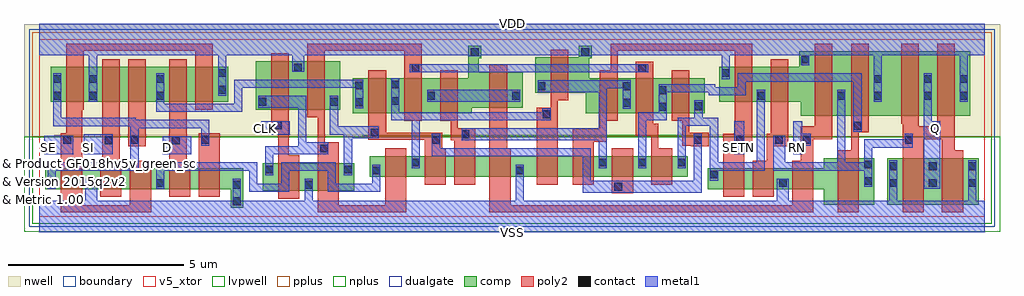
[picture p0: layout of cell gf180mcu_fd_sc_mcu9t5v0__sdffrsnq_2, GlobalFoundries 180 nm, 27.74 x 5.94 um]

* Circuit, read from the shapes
.subckt gf180mcu_fd_sc_mcu9t5v0__sdffrsnq_2 CLK D Q RN SE SETN SI VDD VSS
XM1 VSS SE n1 VSUBS nfet_05v0 w=0.59u l=0.6u
XM2 n2 SI VSS VSUBS nfet_05v0 w=0.59u l=0.6u
XM3 n3 SE n2 VSUBS nfet_05v0 w=0.59u l=0.6u
XM4 n4 D n3 VSUBS nfet_05v0 w=0.59u l=0.6u
XM5 VSS n1 n4 VSUBS nfet_05v0 w=0.59u l=0.6u
XM6 VSS CLK n5 VSUBS nfet_05v0 w=0.79u l=0.6u
XM7 n6 n5 VSS VSUBS nfet_05v0 w=0.79u l=0.6u
XM8 n7 n5 n3 VSUBS nfet_05v0 w=0.59u l=0.6u
XM9 n8 n6 n7 VSUBS nfet_05v0 w=0.59u l=0.6u
XM10 n9 n10 n8 VSUBS nfet_05v0 w=0.59u l=0.6u
XM11 VSS RN n9 VSUBS nfet_05v0 w=0.59u l=0.6u
XM12 n11 n7 VSS VSUBS nfet_05v0 w=0.59u l=0.6u
XM13 n10 SETN n11 VSUBS nfet_05v0 w=0.59u l=0.6u
XM14 n12 n6 n10 VSUBS nfet_05v0 w=0.59u l=0.6u
XM15 n13 n5 n12 VSUBS nfet_05v0 w=0.59u l=0.6u
XM16 n14 SETN n13 VSUBS nfet_05v0 w=0.59u l=0.6u
XM17 VSS n15 n14 VSUBS nfet_05v0 w=0.59u l=0.6u
XM18 n16 RN VSS VSUBS nfet_05v0 w=0.59u l=0.6u
XM19 n15 n12 n16 VSUBS nfet_05v0 w=1.32u l=0.6u
XM20 Q n15 VSS VSUBS nfet_05v0 w=1.32u l=0.6u m=2
XM21 VDD SE n1 n17 pfet_05v0 w=1u l=0.5u
XM22 n18 SI VDD n17 pfet_05v0 w=1u l=0.5u
XM23 n19 n1 n18 n17 pfet_05v0 w=1u l=0.5u
XM24 n20 D n19 n17 pfet_05v0 w=1u l=0.5u
XM25 VDD SE n20 n17 pfet_05v0 w=1u l=0.5u
XM26 VDD CLK n5 n17 pfet_05v0 w=1.38u l=0.5u
XM27 n6 n5 VDD n17 pfet_05v0 w=1.38u l=0.5u
XM28 n7 n6 n19 n17 pfet_05v0 w=1u l=0.5u
XM29 n21 n5 n7 n17 pfet_05v0 w=1u l=0.5u
XM30 VDD n10 n21 n17 pfet_05v0 w=1u l=0.5u
XM31 n21 RN VDD n17 pfet_05v0 w=1u l=0.5u
XM32 VDD n7 n10 n17 pfet_05v0 w=1u l=0.5u
XM33 n10 SETN VDD n17 pfet_05v0 w=1u l=0.5u
XM34 n12 n5 n10 n17 pfet_05v0 w=1u l=0.5u
XM35 n13 n6 n12 n17 pfet_05v0 w=1u l=0.5u
XM36 n13 SETN VDD n17 pfet_05v0 w=1u l=0.5u
XM37 VDD n15 n13 n17 pfet_05v0 w=1u l=0.5u
XM38 n15 RN VDD n17 pfet_05v0 w=1.83u l=0.5u
XM39 VDD n12 n15 n17 pfet_05v0 w=1.83u l=0.5u
XM40 Q n15 VDD n17 pfet_05v0 w=1.83u l=0.5u m=2
.ends

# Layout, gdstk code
import gdstk
lib = gdstk.Library(unit=1e-6, precision=1e-09)
def R(c, l, rs):  # rectangles x0, y0, x1, y1
    for r in rs: c.add(gdstk.rectangle(r[:2], r[2:], *l))
def A(c, l, x, y, w, h, nx, ny, dx, dy):  # array of equal rectangles
    R(c, l, [(x+i*dx, y+j*dy, x+i*dx+w, y+j*dy+h) for i in range(nx) for j in range(ny)])
def P(c, l, *ps):  # polygons
    for p in ps: c.add(gdstk.Polygon(p, *l))
boundary = (0, 0)
nwell = (21, 0)
comp = (22, 0)
poly2 = (30, 0)
pplus = (31, 0)
nplus = (32, 0)
contact = (33, 0)
metal1 = (34, 0)
dualgate = (55, 0)
v5_xtor = (112, 1)
lvpwell = (204, 0)

gf180mcu_fd_sc_mcu9t5v0_ = lib.new_cell('gf180mcu_fd_sc_mcu9t5v0__sdffrsnq_2')
R(gf180mcu_fd_sc_mcu9t5v0_, boundary, [(0,0,26.88,5.04)])
P(gf180mcu_fd_sc_mcu9t5v0_, nwell, [(-0.43,2.265),(-0.43,5.47),(27.31,5.47),(27.31,2.265),(21.385,2.265),(21.385,2.32),(0.43,2.32),(0.43,2.265)])
R(gf180mcu_fd_sc_mcu9t5v0_, comp, [(24.1,0.345,26.7,1.665), (6.36,0.73,8.96,1.52), (9.4,1.13,18.44,1.72), (6.16,3.04,8.56,4.42), (0.33,3.26,5.38,4.26)])
P(gf180mcu_fd_sc_mcu9t5v0_, comp, [(5.44,0.26),(5.44,0.78),(0.18,0.78),(0.18,1.37),(5.8,1.37),(5.8,0.26)],
  [(8.92,2.94),(8.92,3.94),(12.2,3.94),(12.2,4.86),(12.56,4.86),(12.56,4.5),(12.5,4.5),(12.5,4.1),(13.74,4.1),(13.74,3.1),(12.3,3.1),(12.3,2.94)],
  [(15.54,2.94),(15.54,3.525),(14.1,3.525),(14.1,4.525),(15.34,4.525),(15.34,4.86),(15.7,4.86),(15.7,4.5),(15.64,4.5),(15.64,3.94),(18.92,3.94),(18.92,2.94)],
  [(22.3,0.345),(22.3,0.785),(19,0.785),(19,1.375),(22.3,1.375),(22.3,1.665),(23.74,1.665),(23.74,0.345)],
  [(21.64,2.865),(21.64,3.26),(19.33,3.26),(19.33,4.26),(21.6,4.26),(21.6,4.695),(26.46,4.695),(26.46,2.865)])
R(gf180mcu_fd_sc_mcu9t5v0_, poly2, [(4.54,0.56,5.14,2.365), (16.28,0.67,16.88,1.94), (2.53,2.005,3.03,4.48)])
P(gf180mcu_fd_sc_mcu9t5v0_, poly2, [(1.74,0.56),(1.74,1.59),(1.79,1.59),(1.79,4.48),(2.29,4.48),(2.29,1.59),(2.34,1.59),(2.34,0.56)],
  [(3.7,0.56),(3.7,4.48),(4.2,4.48),(4.2,1.59),(4.3,1.59),(4.3,0.56)],
  [(0.62,0.12),(0.62,2.365),(0.77,2.365),(0.77,4.92),(4.94,4.92),(4.94,3.04),(4.44,3.04),(4.44,4.72),(1.27,4.72),(1.27,3.04),(1.22,3.04),(1.22,0.32),(2.58,0.32),(2.58,1.59),(3.18,1.59),(3.18,0.12)],
  [(6.8,0.51),(6.8,2.415),(6.6,2.415),(6.6,4.64),(7.1,4.64),(7.1,1.74),(7.4,1.74),(7.4,0.51)],
  [(7.92,0.12),(7.92,2.82),(7.62,2.82),(7.62,4.92),(10.88,4.92),(10.88,2.72),(10.38,2.72),(10.38,4.72),(8.12,4.72),(8.12,2.12),(8.52,2.12),(8.52,0.32),(9.84,0.32),(9.84,1.94),(10.44,1.94),(10.44,0.12)],
  [(10.96,0.91),(10.96,2.18),(9.36,2.18),(9.36,4.16),(9.86,4.16),(9.86,2.38),(11.46,2.38),(11.46,1.94),(11.56,1.94),(11.56,0.91)],
  [(11.8,0.91),(11.8,2.17),(11.7,2.17),(11.7,2.72),(11.4,2.72),(11.4,4.16),(11.9,4.16),(11.9,2.52),(12.4,2.52),(12.4,0.91)],
  [(14.14,0.91),(14.14,3.09),(14.54,3.09),(14.54,4.745),(15.04,4.745),(15.04,3.305),(14.74,3.305),(14.74,0.91)],
  [(17.4,0.91),(17.4,2.285),(16.96,2.285),(16.96,4.4),(17.46,4.4),(17.46,2.64),(17.6,2.64),(17.6,1.94),(18,1.94),(18,0.91)],
  [(18.535,2.005),(18.535,2.02),(18.28,2.02),(18.28,2.72),(17.98,2.72),(17.98,4.16),(18.48,4.16),(18.48,2.38),(19.035,2.38),(19.035,2.005)],
  [(19.44,0.565),(19.44,2.35),(19.77,2.35),(19.77,4.72),(16.44,4.72),(16.44,2.72),(16.14,2.72),(16.14,2.135),(15.76,2.135),(15.76,0.91),(15.16,0.91),(15.16,2.495),(15.94,2.495),(15.94,4.16),(16.24,4.16),(16.24,4.92),(20.27,4.92),(20.27,2.005),(20.04,2.005),(20.04,0.565)],
  [(20.28,0.565),(20.28,1.595),(20.68,1.595),(20.68,2.355),(20.79,2.355),(20.79,4.48),(21.29,4.48),(21.29,2.005),(20.88,2.005),(20.88,0.565)],
  [(12.8,0.12),(12.8,4.32),(13.3,4.32),(13.3,1.94),(13.4,1.94),(13.4,0.32),(21.4,0.32),(21.4,1.595),(21.64,1.595),(21.64,2.565),(22.04,2.565),(22.04,4.915),(22.54,4.915),(22.54,2.205),(22,2.205),(22,0.12)],
  [(22.7,0.125),(22.7,1.885),(23.08,1.885),(23.08,4.915),(23.58,4.915),(23.58,2.405),(23.3,2.405),(23.3,0.125)],
  [(24.54,0.125),(24.54,2.645),(24.5,2.645),(24.5,4.915),(25,4.915),(25,2.565),(25.52,2.565),(25.52,4.915),(26.02,4.915),(26.02,1.885),(26.26,1.885),(26.26,0.125),(25.66,0.125),(25.66,2.205),(25.14,2.205),(25.14,0.125)])
R(gf180mcu_fd_sc_mcu9t5v0_, pplus, [(-0.2,2.265,27.08,5.24)])
R(gf180mcu_fd_sc_mcu9t5v0_, nplus, [(-0.2,-0.2,27.08,2.265)])
A(gf180mcu_fd_sc_mcu9t5v0_, contact, 24.17, 0.85, 0.22, 0.22, 3, 2, 1.12, 0.47)
A(gf180mcu_fd_sc_mcu9t5v0_, contact, 15.91, 1.43, 0.22, 0.22, 3, 1, 1.12, 0)
R(gf180mcu_fd_sc_mcu9t5v0_, contact, [(5.51,0.33,5.73,0.55), (16.35,0.74,16.57,0.96), (5.51,0.8,5.73,1.02), (7.55,0.8,7.77,1.02), (0.25,0.85,0.47,1.07), (1.37,0.85,1.59,1.07), (3.33,0.85,3.55,1.07), (21.03,0.855,21.25,1.075), (23.45,0.905,23.67,1.125), (19.07,1.085,19.29,1.305), (9.47,1.2,9.69,1.42), (13.55,1.2,13.77,1.42), (6.43,1.23,6.65,1.45), (8.67,1.23,8.89,1.45), (23.45,1.375,23.67,1.595), (10.59,1.43,10.81,1.65), (7.99,1.83,8.21,2.05), (1.86,2.065,2.08,2.285), (3.77,2.065,3.99,2.285), (0.69,2.075,0.91,2.295), (2.6,2.075,2.82,2.295), (4.61,2.075,4.83,2.295), (11.17,2.075,11.39,2.295), (18.61,2.075,18.83,2.295), (19.815,2.075,20.035,2.295), (20.92,2.075,21.14,2.295), (21.71,2.075,21.93,2.295), (24.61,2.075,24.83,2.295), (12.01,2.23,12.23,2.45), (9.43,2.285,9.65,2.505), (23.15,2.475,23.37,2.695), (6.67,2.485,6.89,2.705), (14.31,2.8,14.53,3.02), (17.61,3.015,17.83,3.235), (18.63,3.025,18.85,3.245), (16.59,3.125,16.81,3.345), (8.99,3.145,9.21,3.365), (6.23,3.155,6.45,3.375), (8.27,3.155,8.49,3.375), (10.01,3.18,10.23,3.4), (0.4,3.33,0.62,3.55), (1.42,3.33,1.64,3.55), (3.33,3.33,3.55,3.55), (11.03,3.33,11.25,3.55), (13.45,3.33,13.67,3.55), (20.42,3.33,20.64,3.55), (22.69,3.33,22.91,3.55), (23.73,3.33,23.95,3.55), (25.15,3.33,25.37,3.55), (26.17,3.33,26.39,3.55), (17.61,3.485,17.83,3.705), (5.09,3.5,5.31,3.72), (14.17,3.595,14.39,3.815), (16.59,3.595,16.81,3.815), (8.99,3.615,9.21,3.835), (10.01,3.65,10.23,3.87), (0.4,3.8,0.62,4.02), (1.42,3.8,1.64,4.02), (3.33,3.8,3.55,4.02), (23.73,3.8,23.95,4.02), (25.15,3.8,25.37,4.02), (26.17,3.8,26.39,4.02), (5.09,3.97,5.31,4.19), (19.4,3.97,19.62,4.19), (10.59,4.11,10.81,4.33), (17.03,4.11,17.25,4.33), (7.25,4.13,7.47,4.35), (21.67,4.36,21.89,4.58), (12.27,4.57,12.49,4.79), (15.41,4.57,15.63,4.79)])
R(gf180mcu_fd_sc_mcu9t5v0_, metal1, [(0.15,1.77,0.97,2.3), (1.27,1.77,2.09,2.345), (3.51,1.77,4.33,2.29), (19.75,1.77,20.04,2.71), (6.31,2.33,7.13,2.71), (11.025,3.27,13.675,3.61), (10.53,4.105,17.31,4.335)])
P(gf180mcu_fd_sc_mcu9t5v0_, metal1, [(0.245,0.79),(0.245,1.54),(2.595,1.54),(2.595,2.575),(0.395,2.575),(0.395,4.08),(0.625,4.08),(0.625,2.805),(2.745,2.805),(2.745,2.75),(4.835,2.75),(4.835,2.015),(4.605,2.015),(4.605,2.52),(2.825,2.52),(2.825,1.31),(0.475,1.31),(0.475,0.79)],
  [(6.425,1.17),(6.425,2),(7.36,2),(7.36,3.095),(6.225,3.095),(6.225,3.435),(7.59,3.435),(7.59,2.11),(8.215,2.11),(8.215,1.77),(6.655,1.77),(6.655,1.17)],
  [(3.325,2.98),(3.325,4.08),(3.555,4.08),(3.555,3.21),(5.545,3.21),(5.545,3.895),(9.215,3.895),(9.215,3.085),(8.985,3.085),(8.985,3.665),(5.775,3.665),(5.775,2.98)],
  [(8.665,1.17),(8.665,2.335),(8.265,2.335),(8.265,3.435),(8.495,3.435),(8.495,2.565),(9.655,2.565),(9.655,2.225),(8.895,2.225),(8.895,1.17)],
  [(5.965,0.71),(5.965,1.31),(3.555,1.31),(3.555,0.79),(3.325,0.79),(3.325,1.54),(6.195,1.54),(6.195,0.94),(6.885,0.94),(6.885,1.54),(8.435,1.54),(8.435,0.94),(9.465,0.94),(9.465,1.48),(9.695,1.48),(9.695,0.71),(8.205,0.71),(8.205,1.31),(7.115,1.31),(7.115,0.71)],
  [(10.585,1.37),(10.585,2.74),(10.005,2.74),(10.005,3.93),(10.235,3.93),(10.235,2.97),(14.305,2.97),(14.305,3.08),(14.535,3.08),(14.535,2.74),(10.815,2.74),(10.815,1.37)],
  [(15.905,1.37),(15.905,2.17),(12.005,2.17),(12.005,2.51),(15.905,2.51),(15.905,3.535),(14.165,3.535),(14.165,3.875),(16.815,3.875),(16.815,3.065),(16.585,3.065),(16.585,3.645),(16.135,3.645),(16.135,1.37)],
  [(15.445,0.68),(15.445,1.71),(11.165,1.71),(11.165,2.355),(11.395,2.355),(11.395,1.94),(15.675,1.94),(15.675,1.02),(18.605,1.02),(18.605,2.355),(18.835,2.355),(18.835,0.68)],
  [(19.065,1.025),(19.065,2.585),(18.375,2.585),(18.375,1.37),(18.145,1.37),(18.145,2.815),(18.625,2.815),(18.625,3.305),(18.855,3.305),(18.855,2.815),(19.295,2.815),(19.295,1.54),(20.4,1.54),(20.4,3.61),(20.645,3.61),(20.645,3.27),(20.63,3.27),(20.63,1.31),(19.295,1.31),(19.295,1.025)],
  [(21.43,1.77),(21.43,2.71),(21.69,2.71),(21.69,2.355),(21.935,2.355),(21.935,2.015),(21.69,2.015),(21.69,1.77)],
  [(17.025,1.37),(17.025,2.97),(17.605,2.97),(17.605,3.765),(19.215,3.765),(19.215,3.68),(19.855,3.68),(19.855,4.07),(23.375,4.07),(23.375,2.415),(23.145,2.415),(23.145,3.84),(20.085,3.84),(20.085,3.45),(19.035,3.45),(19.035,3.535),(17.835,3.535),(17.835,2.74),(17.255,2.74),(17.255,1.37)],
  [(23.445,0.845),(23.445,1.31),(20.86,1.31),(20.86,2.3),(21.2,2.3),(21.2,1.54),(22.685,1.54),(22.685,3.61),(22.915,3.61),(22.915,1.54),(23.445,1.54),(23.445,2.195),(24.605,2.195),(24.605,2.355),(24.835,2.355),(24.835,1.965),(23.675,1.965),(23.675,0.845)],
  [(25.145,0.79),(25.145,4.08),(25.375,4.08),(25.375,2.71),(25.61,2.71),(25.61,0.79)],
  [(0,-0.45),(0,0.45),(1.31,0.45),(1.31,1.075),(1.65,1.075),(1.65,0.45),(5.505,0.45),(5.505,1.08),(5.735,1.08),(5.735,0.45),(7.545,0.45),(7.545,1.08),(7.775,1.08),(7.775,0.45),(13.545,0.45),(13.545,1.48),(13.775,1.48),(13.775,0.45),(20.97,0.45),(20.97,1.08),(21.31,1.08),(21.31,0.45),(24.165,0.45),(24.165,1.6),(24.395,1.6),(24.395,0.45),(26.405,0.45),(26.405,1.6),(26.635,1.6),(26.635,0.45),(26.88,0.45),(26.88,-0.45)],
  [(1.415,3.27),(1.415,4.59),(0,4.59),(0,5.49),(26.88,5.49),(26.88,4.59),(26.395,4.59),(26.395,3.27),(26.165,3.27),(26.165,4.59),(23.955,4.59),(23.955,3.27),(23.725,3.27),(23.725,4.59),(21.895,4.59),(21.895,4.3),(21.665,4.3),(21.665,4.59),(19.625,4.59),(19.625,3.91),(19.395,3.91),(19.395,4.59),(15.69,4.59),(15.69,4.565),(15.35,4.565),(15.35,4.59),(12.55,4.59),(12.55,4.565),(12.21,4.565),(12.21,4.59),(7.53,4.59),(7.53,4.125),(7.19,4.125),(7.19,4.59),(5.315,4.59),(5.315,3.44),(5.085,3.44),(5.085,4.59),(1.645,4.59),(1.645,3.27)])
R(gf180mcu_fd_sc_mcu9t5v0_, dualgate, [(-0.28,-0.28,27.16,5.32)])
R(gf180mcu_fd_sc_mcu9t5v0_, v5_xtor, [(0,0,26.88,5.04)])
P(gf180mcu_fd_sc_mcu9t5v0_, lvpwell, [(-0.43,-0.43),(-0.43,2.265),(8.44,2.265),(8.44,2.28),(9.18,2.28),(9.18,2.32),(18.695,2.32),(18.695,2.265),(27.31,2.265),(27.31,-0.43)])
gf180mcu_fd_sc_mcu9t5v0_.add(gdstk.Label('CLK', (6.44,2.52), layer=34, texttype=10))
gf180mcu_fd_sc_mcu9t5v0_.add(gdstk.Label('D', (3.64,1.96), layer=34, texttype=10))
gf180mcu_fd_sc_mcu9t5v0_.add(gdstk.Label('Q', (25.48,2.52), layer=34, texttype=10))
gf180mcu_fd_sc_mcu9t5v0_.add(gdstk.Label('RN', (21.56,1.96), layer=34, texttype=10))
gf180mcu_fd_sc_mcu9t5v0_.add(gdstk.Label('SE', (0.28,1.96), layer=34, texttype=10))
gf180mcu_fd_sc_mcu9t5v0_.add(gdstk.Label('SETN', (19.88,1.96), layer=34, texttype=10))
gf180mcu_fd_sc_mcu9t5v0_.add(gdstk.Label('SI', (1.4,1.96), layer=34, texttype=10))
gf180mcu_fd_sc_mcu9t5v0_.add(gdstk.Label('VDD', (13.44,5.49), layer=34, texttype=10))
gf180mcu_fd_sc_mcu9t5v0_.add(gdstk.Label('VSS', (13.44,-0.45), layer=34, texttype=10))
gf180mcu_fd_sc_mcu9t5v0_.add(gdstk.Label('& Vendor GLOBALFOUNDRIES', (0,2), layer=63, texttype=63))
gf180mcu_fd_sc_mcu9t5v0_.add(gdstk.Label('& Product GF018hv5v_green_sc9', (0,1.5), layer=63, texttype=63))
gf180mcu_fd_sc_mcu9t5v0_.add(gdstk.Label('& Version 2015q2v2', (0,1), layer=63, texttype=63))
gf180mcu_fd_sc_mcu9t5v0_.add(gdstk.Label('& Metric 1.00', (0,0.5), layer=63, texttype=63))

lib.write_gds('gf180mcu_fd_sc_mcu9t5v0__sdffrsnq_2.gds')
